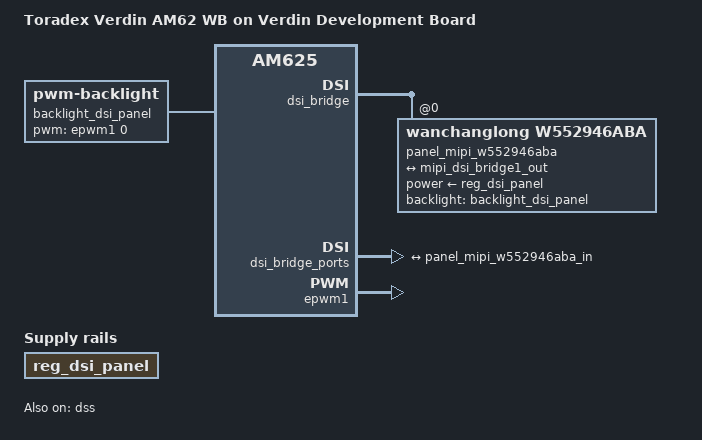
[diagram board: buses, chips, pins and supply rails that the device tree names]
// SPDX-License-Identifier: GPL-2.0-or-later OR MIT
/*
 * Copyright 2023 Toradex
 *
 * https://www.toradex.com/computer-on-modules/verdin-arm-family/ti-am62
 * https://www.toradex.com/products/carrier-board/verdin-development-board-kit
 */

#include <dt-bindings/gpio/gpio.h>
#include <dt-bindings/interrupt-controller/irq.h>
#include <dt-bindings/pwm/pwm.h>
#include "k3-pinctrl.h"

/dts-v1/;

#include "k3-am625.dtsi"
#include "k3-am62-verdin.dtsi"
#include "k3-am62-verdin-wifi.dtsi"
#include "k3-am62-verdin-dev.dtsi"

/ {
	model = "Toradex Verdin AM62 WB on Verdin Development Board";
	compatible = "toradex,verdin-am62-wifi-dev",
		     "toradex,verdin-am62-wifi",
		     "toradex,verdin-am62",
		     "ti,am625";

	reg_dsi_panel: reg_dsi_panel {
		compatible = "regulator-fixed";
		regulator-name = "VCC-PANEL";
	};

	backlight_dsi_panel: backlight_dsi_panel {
		compatible = "pwm-backlight";
		pwms = <&epwm1 0 5000000 0>;
	};
};

&dsi_bridge {
	#address-cells = <1>;
	#size-cells = <0>;
	status = "okay";

	panel_mipi_w552946aba: panel@0 {
		compatible = "wanchanglong,w552946aba", "ilitek,ili9881c";
		reg = <0>;
		power-supply = <&reg_dsi_panel>;
		backlight = <&backlight_dsi_panel>;

		port {
			panel_mipi_w552946aba_in: endpoint {
				remote-endpoint = <&mipi_dsi_bridge1_out>;
			};
		};
	};
};

&dsi_bridge_ports {
	#address-cells = <1>;
	#size-cells = <0>;

	port@1 {
		reg = <1>;

		mipi_dsi_bridge1_out: endpoint {
			remote-endpoint = <&panel_mipi_w552946aba_in>;
		};
	};
};

&dss {
	status = "okay";
};

/* Verdin PWM_3_DSI */
&epwm1 {
	status = "okay";
};
